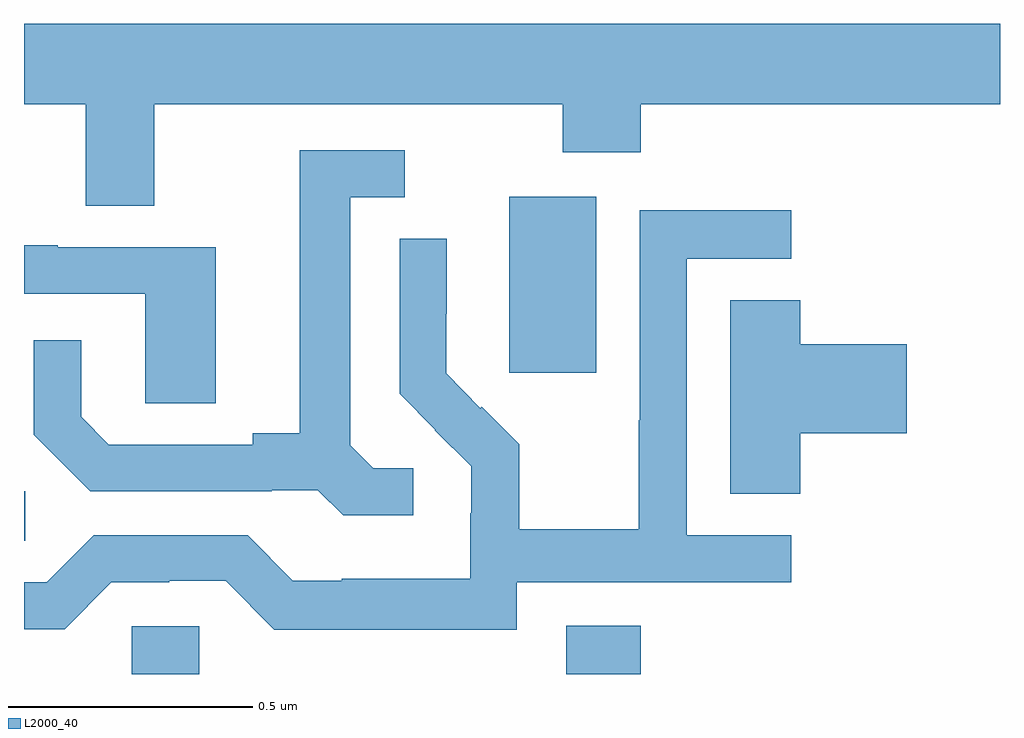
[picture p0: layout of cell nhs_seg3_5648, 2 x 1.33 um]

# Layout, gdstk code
import gdstk
lib = gdstk.Library(unit=1e-6, precision=1e-09)
def R(c, l, rs):  # rectangles x0, y0, x1, y1
    for r in rs: c.add(gdstk.rectangle(r[:2], r[2:], *l))
def P(c, l, *ps):  # polygons
    for p in ps: c.add(gdstk.Polygon(p, *l))
L2000_40 = (2000, 40)

nhs_seg3_5648 = lib.new_cell('nhs_seg3_5648')
R(nhs_seg3_5648, L2000_40, [(181.221,714.4,181.359,714.498), (182.111,714.4,182.264,714.499), (181,714.673,181.003,714.774), (181.994,715.017,182.173,715.378)])
P(nhs_seg3_5648, L2000_40, [(181.267,715.568),(182.104,715.568),(182.104,715.469),(182.264,715.469),(182.264,715.568),(183,715.568),(183,715.732),(181,715.732),(181,715.568),(181.127,715.568),(181.127,715.36),(181.267,715.36)],
  [(181.798,714.822),(181.716,714.822),(181.669,714.869),(181.669,715.377),(181.78,715.377),(181.78,715.473),(181.565,715.473),(181.565,714.893),(181.469,714.893),(181.469,714.87),(181.174,714.87),(181.117,714.927),(181.117,715.084),(181.02,715.084),(181.02,714.89),(181.136,714.774),(181.508,714.774),(181.508,714.777),(181.602,714.777),(181.654,714.725),(181.798,714.725)],
  [(182.01,714.588),(182.572,714.588),(182.572,714.684),(182.358,714.684),(182.358,715.251),(182.572,715.251),(182.572,715.35),(182.262,715.35),(182.262,714.92),(182.26,714.92),(182.26,714.697),(182.015,714.697),(182.015,714.871),(181.938,714.948),(181.935,714.945),(181.865,715.016),(181.865,715.138),(181.866,715.138),(181.866,715.292),(181.77,715.292),(181.77,714.974),(181.843,714.901),(181.842,714.9),(181.916,714.826),(181.916,714.729),(181.914,714.729),(181.914,714.595),(181.651,714.595),(181.651,714.591),(181.551,714.591),(181.458,714.684),(181.143,714.684),(181.047,714.588),(181,714.588),(181,714.492),(181.083,714.492),(181.179,714.588),(181.298,714.588),(181.298,714.591),(181.413,714.591),(181.513,714.491),(182.01,714.491)],
  [(181.393,715.275),(181.069,715.275),(181.069,715.279),(181,715.279),(181,715.179),(181.248,715.179),(181.248,714.955),(181.393,714.955)],
  [(182.591,714.893),(182.809,714.893),(182.809,715.076),(182.591,715.076),(182.591,715.166),(182.447,715.166),(182.447,714.769),(182.591,714.769)])

lib.write_gds('nhs_seg3_5648.gds')
